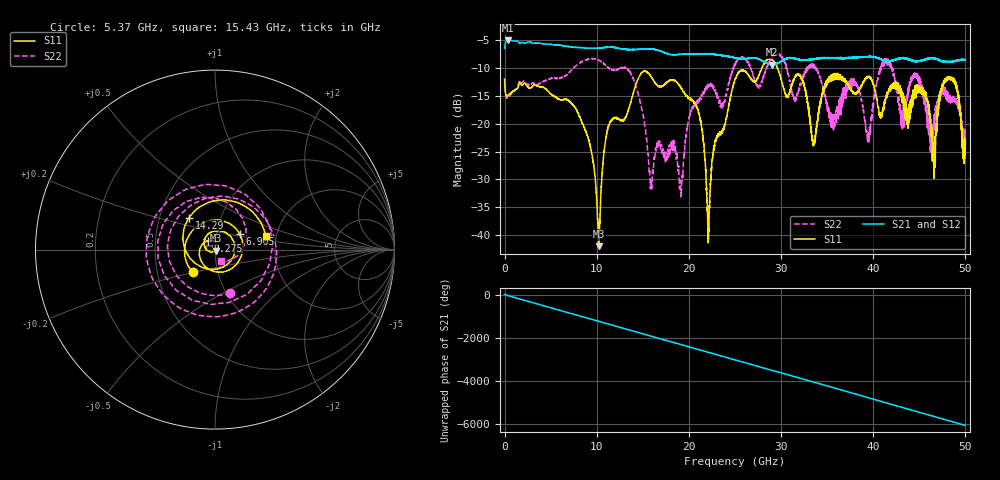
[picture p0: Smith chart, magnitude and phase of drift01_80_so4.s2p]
!Created with skrf (http://scikit-rf.org).
# Hz S RI R 50.0
!freq ReS11 ImS11 ReS21 ImS21 ReS12 ImS12 ReS22 ImS22
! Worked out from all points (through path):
!   10001 points, 300 kHz to 50 GHz, reference 50 ohm
!   highest |S21| = -5.05 dB at 325.3 MHz (marker M1); lowest = -9.4 dB at 28.98 GHz (marker M2)
!   group delay of S21, straight-line fit = 336 ps
!   lowest |S11| = -42.0 dB at 10.22 GHz (marker M3), VSWR 1.02, Z = 50.5 - j0.584 ohm
!   |S11| at or under -10 dB: start of sweep to 27.9 GHz; 29.6 GHz to end of sweep
!   |S22| runs from -33.1 to -7.4 dB; largest |S21 - S12| = 0.015
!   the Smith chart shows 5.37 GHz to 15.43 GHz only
!   S11 on the Smith chart (normalised r, x): 5.37 GHz: 0.76, -0.20; 6.905 GHz: 1.30, +0.23; 9.275 GHz: 0.92, +0.09; 14.29 GHz: 0.70, +0.27; 15.43 GHz: 1.76, +0.29
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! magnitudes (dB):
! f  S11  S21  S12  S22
! 300 kHz  -12.0  -6.5  -6.6  -11.8
! 325.3 MHz  -15.0  -5.1  -5.1  -15.3
! 5.37 GHz  -15.0  -5.8  -5.8  -11.8
! 6.905 GHz  -15.8  -6.1  -6.1  -11.0
! 8.335 GHz  -19.5  -6.3  -6.3  -8.9
! 9.275 GHz  -24.0  -6.4  -6.4  -8.3
! 10.22 GHz  -42.0  -6.4  -6.4  -8.6
! 11.23 GHz  -20.6  -6.2  -6.2  -9.9
! 14.29 GHz  -12.8  -6.7  -6.7  -13.5
! 15.43 GHz  -10.7  -6.6  -6.6  -22.8
! 16.67 GHz  -13.2  -6.8  -6.8  -23.3
! 19.15 GHz  -13.6  -7.5  -7.5  -33.0
! 20.86 GHz  -17.1  -7.5  -7.5  -16.1
! 22.12 GHz  -40.6  -7.5  -7.4  -13.4
! 25 GHz  -12.1  -8.2  -8.2  -9.3
! 28.98 GHz  -8.4  -9.4  -9.4  -8.1
! 33.34 GHz  -22.6  -8.5  -8.4  -9.6
! 39.46 GHz  -11.6  -7.9  -7.9  -21.6
! 41.67 GHz  -13.8  -8.7  -8.7  -9.2
! 46.55 GHz  -26.4  -8.2  -8.3  -20.3
! 48.56 GHz  -12.0  -8.8  -8.8  -16.1
! 50 GHz  -23.9  -8.6  -8.6  -22.6
